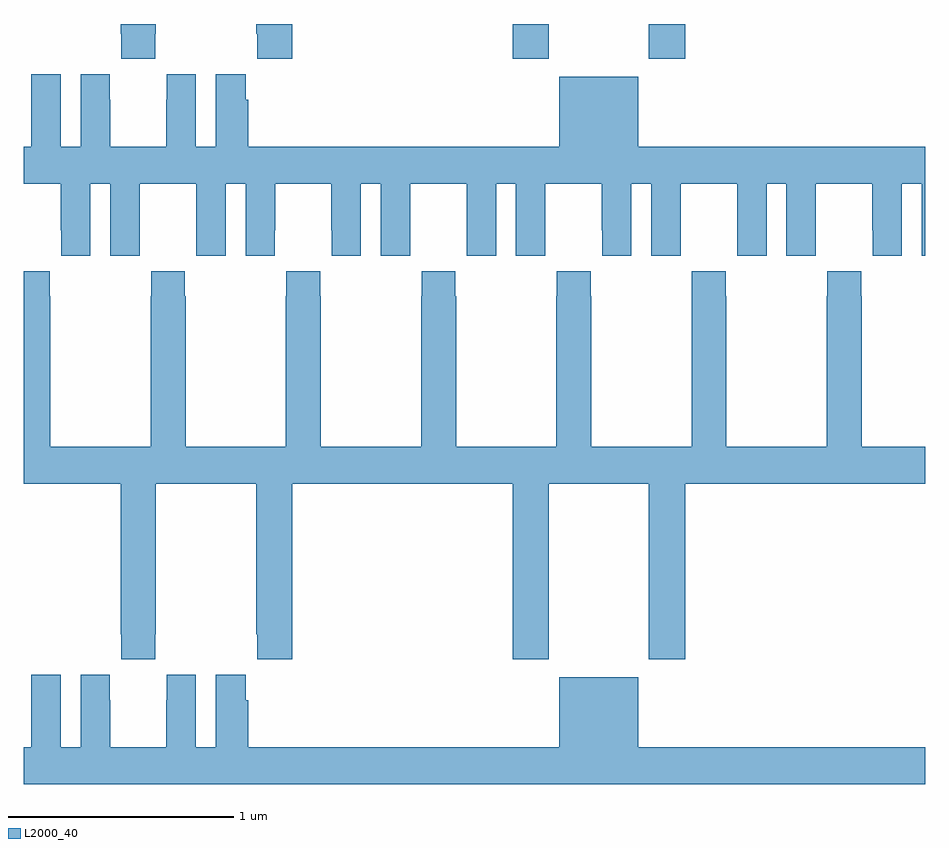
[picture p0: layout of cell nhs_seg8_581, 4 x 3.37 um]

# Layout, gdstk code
import gdstk
lib = gdstk.Library(unit=1e-6, precision=1e-09)
def R(c, l, rs):  # rectangles x0, y0, x1, y1
    for r in rs: c.add(gdstk.rectangle(r[:2], r[2:], *l))
def P(c, l, *ps):  # polygons
    for p in ps: c.add(gdstk.Polygon(p, *l))
L2000_40 = (2000, 40)

nhs_seg8_581 = lib.new_cell('nhs_seg8_581')
R(nhs_seg8_581, L2000_40, [(151.169,1091.745,151.329,1091.9), (151.774,1091.745,151.934,1091.9)])
P(nhs_seg8_581, L2000_40, [(150.191,1091.9),(150.031,1091.9),(150.031,1091.857),(150.037,1091.857),(150.037,1091.745),(150.191,1091.745)],
  [(149.583,1091.857),(149.586,1091.857),(149.586,1091.9),(149.431,1091.9),(149.431,1091.857),(149.433,1091.857),(149.433,1091.745),(149.583,1091.745)],
  [(151.726,1091.665),(151.376,1091.665),(151.376,1091.356),(149.996,1091.356),(149.996,1091.564),(149.986,1091.564),(149.986,1091.677),(149.852,1091.677),(149.852,1091.356),(149.764,1091.356),(149.764,1091.677),(149.634,1091.677),(149.634,1091.564),(149.633,1091.564),(149.633,1091.356),(149.383,1091.356),(149.383,1091.564),(149.382,1091.564),(149.382,1091.677),(149.252,1091.677),(149.252,1091.356),(149.164,1091.356),(149.164,1091.677),(149.034,1091.677),(149.034,1091.564),(149.033,1091.564),(149.033,1091.356),(149,1091.356),(149,1091.192),(149.165,1091.192),(149.165,1090.984),(149.166,1090.984),(149.166,1090.872),(149.296,1090.872),(149.296,1091.192),(149.384,1091.192),(149.384,1090.872),(149.514,1090.872),(149.514,1090.984),(149.515,1090.984),(149.515,1091.192),(149.765,1091.192),(149.765,1090.984),(149.766,1090.984),(149.766,1090.872),(149.896,1090.872),(149.896,1091.192),(149.984,1091.192),(149.984,1090.872),(150.114,1090.872),(150.114,1090.984),(150.115,1090.984),(150.115,1091.192),(150.365,1091.192),(150.365,1090.984),(150.366,1090.984),(150.366,1090.872),(150.496,1090.872),(150.496,1091.192),(150.584,1091.192),(150.584,1090.872),(150.714,1090.872),(150.714,1090.984),(150.715,1090.984),(150.715,1091.192),(150.965,1091.192),(150.965,1090.984),(150.966,1090.984),(150.966,1090.872),(151.096,1090.872),(151.096,1091.192),(151.184,1091.192),(151.184,1090.872),(151.314,1090.872),(151.314,1090.984),(151.315,1090.984),(151.315,1091.192),(151.565,1091.192),(151.565,1090.984),(151.566,1090.984),(151.566,1090.872),(151.696,1090.872),(151.696,1091.192),(151.784,1091.192),(151.784,1090.872),(151.914,1090.872),(151.914,1090.984),(151.915,1090.984),(151.915,1091.192),(152.165,1091.192),(152.165,1090.984),(152.166,1090.984),(152.166,1090.872),(152.296,1090.872),(152.296,1091.192),(152.384,1091.192),(152.384,1090.872),(152.514,1090.872),(152.514,1090.984),(152.515,1090.984),(152.515,1091.192),(152.765,1091.192),(152.765,1090.984),(152.766,1090.984),(152.766,1090.872),(152.896,1090.872),(152.896,1091.192),(152.984,1091.192),(152.984,1090.872),(153,1090.872),(153,1091.356),(151.726,1091.356)],
  [(151.365,1090.804),(151.365,1090.691),(151.363,1090.691),(151.363,1090.024),(150.918,1090.024),(150.918,1090.691),(150.915,1090.691),(150.915,1090.804),(150.765,1090.804),(150.765,1090.691),(150.763,1090.691),(150.763,1090.024),(150.318,1090.024),(150.318,1090.691),(150.315,1090.691),(150.315,1090.804),(150.165,1090.804),(150.165,1090.691),(150.163,1090.691),(150.163,1090.024),(149.718,1090.024),(149.718,1090.691),(149.715,1090.691),(149.715,1090.804),(149.565,1090.804),(149.565,1090.691),(149.563,1090.691),(149.563,1090.024),(149.118,1090.024),(149.118,1090.691),(149.115,1090.691),(149.115,1090.804),(149,1090.804),(149,1089.86),(149.431,1089.86),(149.431,1089.193),(149.433,1089.193),(149.433,1089.081),(149.583,1089.081),(149.583,1089.193),(149.586,1089.193),(149.586,1089.86),(150.031,1089.86),(150.031,1089.193),(150.037,1089.193),(150.037,1089.081),(150.191,1089.081),(150.191,1089.86),(151.169,1089.86),(151.169,1089.081),(151.329,1089.081),(151.329,1089.86),(151.774,1089.86),(151.774,1089.081),(151.934,1089.081),(151.934,1089.86),(153,1089.86),(153,1090.024),(152.718,1090.024),(152.718,1090.691),(152.715,1090.691),(152.715,1090.804),(152.565,1090.804),(152.565,1090.691),(152.563,1090.691),(152.563,1090.024),(152.118,1090.024),(152.118,1090.691),(152.115,1090.691),(152.115,1090.804),(151.965,1090.804),(151.965,1090.691),(151.963,1090.691),(151.963,1090.024),(151.518,1090.024),(151.518,1090.691),(151.515,1090.691),(151.515,1090.804)],
  [(153,1088.692),(151.726,1088.692),(151.726,1089.001),(151.376,1089.001),(151.376,1088.692),(149.996,1088.692),(149.996,1088.9),(149.986,1088.9),(149.986,1089.013),(149.852,1089.013),(149.852,1088.692),(149.764,1088.692),(149.764,1089.013),(149.634,1089.013),(149.634,1088.9),(149.633,1088.9),(149.633,1088.692),(149.383,1088.692),(149.383,1088.9),(149.382,1088.9),(149.382,1089.013),(149.252,1089.013),(149.252,1088.692),(149.164,1088.692),(149.164,1089.013),(149.034,1089.013),(149.034,1088.9),(149.033,1088.9),(149.033,1088.692),(149,1088.692),(149,1088.528),(153,1088.528)])

lib.write_gds('nhs_seg8_581.gds')
